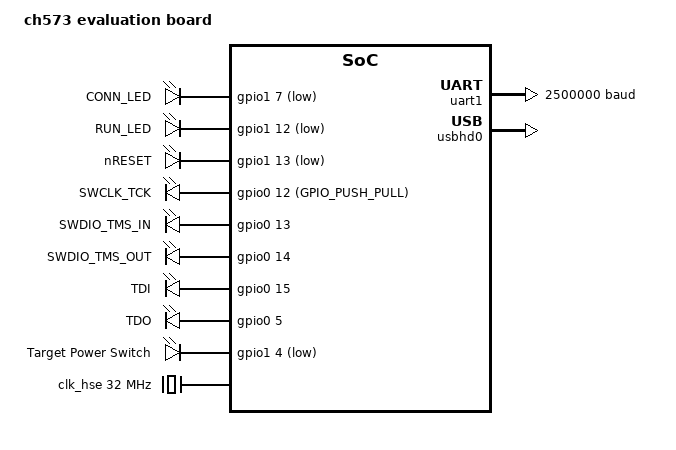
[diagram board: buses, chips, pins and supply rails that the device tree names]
/dts-v1/;

#include <wch/ch57x/ch573.dtsi>
#include <zephyr/dt-bindings/gpio/gpio.h>

/ {
	model = "ch573 evaluation board";
	compatible = "wch,ch573";

	chosen {
		zephyr,sram = &sram0;
		zephyr,flash = &flash0;
		zephyr,console = &uart1;
		zephyr,shell-uart = &uart1;
	};

	leds {
		compatible = "gpio-leds";

		conn_led: conn_led {
			gpios = <&gpio1 7 GPIO_ACTIVE_LOW>;
			label = "CONN_LED";
		};
		run_led: run_len {
			gpios = <&gpio1 12 GPIO_ACTIVE_LOW>;
			label = "RUN_LED";
		};

		nreset: nreset {
			gpios = <&gpio1 13 (GPIO_OPEN_DRAIN | GPIO_PULL_UP | GPIO_ACTIVE_LOW)>;
			label = "nRESET";
		};

		swclk_tck: swclk_tck {
			gpios = <&gpio0 12 (GPIO_PUSH_PULL)>;
			label = "SWCLK_TCK";
		};

		swdio_tms_in: swdio_tms_in {
			gpios = <&gpio0 13 0>;
			label = "SWDIO_TMS_IN";
		};

		swdio_tms_out: swdio_tms_out {
			gpios = <&gpio0 14 (GPIO_PULL_UP)>;
			label = "SWDIO_TMS_OUT";
		};

		tdi: tdi {
			gpios = <&gpio0 15 (GPIO_PULL_UP)>;
			label = "TDI";
		};

		tdo: tdo {
			gpios = <&gpio0 5 (GPIO_PULL_UP)>;
			label = "TDO";
		};

		pwr_sw: pwr_sw {
			gpios = <&gpio1 4 (GPIO_PULL_UP | GPIO_ACTIVE_LOW)>;
			label = "Target Power Switch";
		};
	};

	aliases {
	};

};

&clk_lsi {
	status = "okay";
};

&clk_lse {
	status = "okay";
};

&clk_hse {
	clock-frequency = <DT_FREQ_M(32)>;
	status = "okay";
};

&clk_pll {
	status = "okay";
};

&rcc {
	clocks = <&clk_pll>;
	clock-frequency = <DT_FREQ_M(60)>;
	status = "okay";
};

&uart1 {
	current-speed = <2500000>;
	status = "okay";
};

zephyr_udc0: &usbhd0 {
	status = "okay";
};
